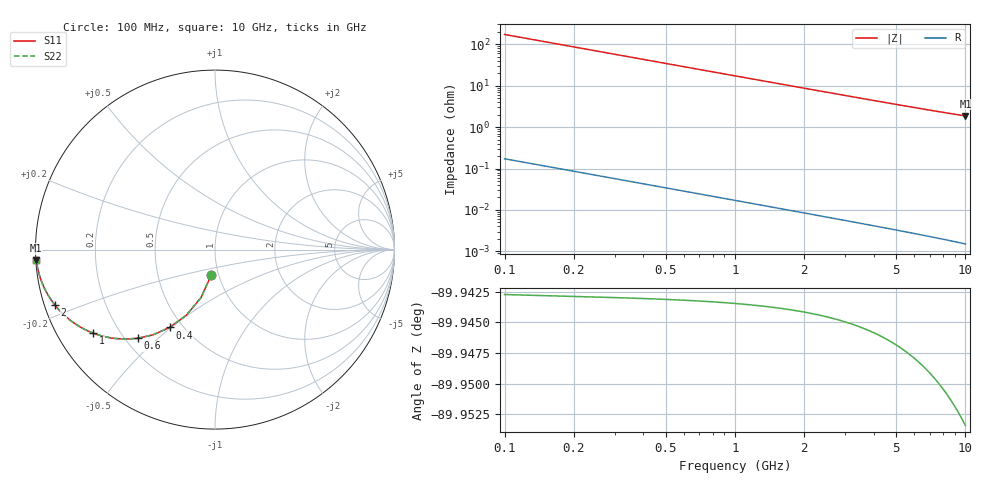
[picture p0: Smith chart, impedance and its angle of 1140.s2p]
# Hz S RI R 50.00
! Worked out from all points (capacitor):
!   100 points, 100 MHz to 10 GHz, reference 50 ohm
!   read as one part in shunt: C = 9.25 pF near 100 MHz
!   lowest |Z| = 1.86 ohm at 10 GHz (marker M1)
!   S11 on the Smith chart (normalised r, x): 100 MHz: 0.92, -0.27; 400 MHz: 0.43, -0.49; 600 MHz: 0.25, -0.43; 1 GHz: 0.11, -0.31; 2 GHz: 0.03, -0.17; 10 GHz: 0.00, -0.03
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1e8  -0.0208 -0.1422  0.9792 -0.1423  0.9792 -0.1423  -0.0208 -0.1422
2e8  -0.0781 -0.2677  0.9219 -0.2679  0.9219 -0.2679  -0.0781 -0.2677
3e8  -0.1598 -0.3658  0.8401 -0.3662  0.8401 -0.3662  -0.1598 -0.3658
4e8  -0.2525 -0.4337  0.7474 -0.4342  0.7474 -0.4342  -0.2525 -0.4337
5e8  -0.3453 -0.4747  0.6547 -0.4753  0.6547 -0.4753  -0.3453 -0.4747
6e8  -0.4315 -0.4944  0.5685 -0.4952  0.5685 -0.4952  -0.4315 -0.4944
7e8  -0.5079 -0.499  0.4921 -0.4999  0.4921 -0.4999  -0.5079 -0.499
8e8  -0.574 -0.4935  0.426 -0.4945  0.426 -0.4945  -0.574 -0.4935
1e9  -0.6776 -0.4662  0.3223 -0.4675  0.3223 -0.4675  -0.6776 -0.4662
1.2e9  -0.7514 -0.4309  0.2486 -0.4324  0.2486 -0.4324  -0.7514 -0.4309
1.4e9  -0.8043 -0.3954  0.1957 -0.3971  0.1957 -0.3971  -0.8043 -0.3954
1.6e9  -0.8428 -0.3625  0.1572 -0.3645  0.1572 -0.3645  -0.8428 -0.3625
1.8e9  -0.8714 -0.3331  0.1286 -0.3354  0.1286 -0.3354  -0.8714 -0.3331
2e9  -0.8931 -0.3072  0.1069 -0.3097  0.1069 -0.3097  -0.8931 -0.3072
2.3e9  -0.9169 -0.274  0.0831 -0.277  0.0831 -0.277  -0.9169 -0.274
2.7e9  -0.9382 -0.2385  0.0618 -0.242  0.0618 -0.242  -0.9382 -0.2385
3.4e9  -0.96 -0.1931  0.0399 -0.1975  0.0399 -0.1975  -0.96 -0.1931
4.2e9  -0.9734 -0.1576  0.0265 -0.163  0.0265 -0.163  -0.9734 -0.1576
5.1e9  -0.9818 -0.1297  0.0181 -0.1363  0.0181 -0.1363  -0.9818 -0.1297
6.7e9  -0.9894 -0.0972  0.0105 -0.106  0.0105 -0.106  -0.9894 -0.0972
8.4e9  -0.9933 -0.0752  0.00661 -0.0864  0.00661 -0.0864  -0.9933 -0.0752
1e10  -0.9953 -0.0607  0.00458 -0.0741  0.00458 -0.0741  -0.9953 -0.0607
